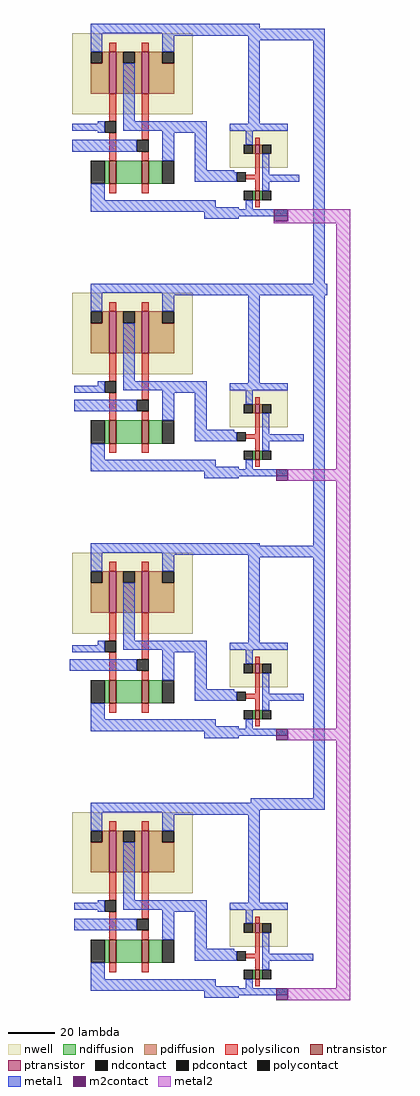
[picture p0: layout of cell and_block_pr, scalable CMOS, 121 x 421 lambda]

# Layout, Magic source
magic
tech scmos
<< metal1 >>
rect 77 412 110 417
rect 1 373 15 376
rect 1 364 17 369
rect 91 351 99 354
rect 105 307 110 412
rect 77 302 111 307
rect 2 260 15 263
rect 2 252 17 257
rect 91 239 101 242
rect 105 194 110 302
rect 77 189 110 194
rect 1 148 15 151
rect 0 140 17 145
rect 91 127 101 130
rect 105 85 110 189
rect 78 80 110 85
rect 2 37 15 40
rect 2 28 17 33
rect 91 15 105 18
<< m2contact >>
rect 88 334 94 339
rect 89 222 94 227
rect 89 110 94 115
rect 89 -2 94 3
<< metal2 >>
rect 94 334 121 339
rect 88 333 121 334
rect 115 227 121 333
rect 94 222 121 227
rect 115 115 121 222
rect 94 110 121 115
rect 115 3 121 110
rect 94 -2 121 3
use and_2_pr  and_2_pr_0
array 0 0 120 0 3 112
transform 1 0 58 0 1 0
box -57 -1 36 83
<< end >>

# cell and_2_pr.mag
magic
tech scmos
<< metal1 >>
rect -18 78 24 83
rect -18 36 1 41
rect 19 38 24 78
rect -4 20 1 36
rect -4 15 13 20
rect -18 4 5 7
rect -18 2 15 4
rect 0 -1 15 2
use nand_unlab_pr  nand_unlab_pr_0
transform 1 0 -33 0 1 53
box -24 -51 28 30
use inverter_unlab_pr  inverter_unlab_pr_0
transform 1 0 20 0 1 20
box -9 -20 16 20
<< end >>

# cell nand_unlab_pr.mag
magic
tech scmos
<< nwell >>
rect -24 -9 28 26
<< ntransistor >>
rect -8 -39 -5 -29
rect 6 -39 9 -29
<< ptransistor >>
rect -8 0 -5 18
rect 6 0 9 18
<< ndiffusion >>
rect -10 -39 -8 -29
rect -5 -39 6 -29
rect 9 -39 15 -29
<< pdiffusion >>
rect -11 13 -8 18
rect -16 0 -8 13
rect -5 13 -2 18
rect 3 13 6 18
rect -5 0 6 13
rect 9 13 15 18
rect 9 0 20 13
<< ndcontact >>
rect -16 -39 -10 -29
rect 15 -39 20 -29
<< pdcontact >>
rect -16 13 -11 18
rect -2 13 3 18
rect 15 13 20 18
<< polysilicon >>
rect -8 18 -5 22
rect 6 18 9 22
rect -8 -12 -5 0
rect -8 -29 -5 -17
rect 6 -20 9 0
rect 6 -29 9 -25
rect -8 -43 -5 -39
rect 6 -43 9 -39
<< polycontact >>
rect -10 -17 -5 -12
rect 4 -25 9 -20
<< metal1 >>
rect -16 26 20 30
rect -16 18 -11 26
rect 15 18 20 26
rect -2 -12 3 13
rect -13 -17 -10 -12
rect -2 -16 20 -12
rect -13 -25 4 -20
rect 15 -29 20 -16
rect -16 -46 -10 -39
rect -16 -51 20 -46
<< end >>

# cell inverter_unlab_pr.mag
magic
tech scmos
<< nwell >>
rect -9 1 16 17
<< ntransistor >>
rect 2 -13 4 -9
<< ptransistor >>
rect 2 7 4 11
<< ndiffusion >>
rect 1 -13 2 -9
rect 4 -13 5 -9
<< pdiffusion >>
rect 1 7 2 11
rect 4 7 5 11
<< ndcontact >>
rect -3 -13 1 -9
rect 5 -13 9 -9
<< pdcontact >>
rect -3 7 1 11
rect 5 7 9 11
<< polysilicon >>
rect 2 11 4 14
rect 2 -2 4 7
rect -2 -4 4 -2
rect 2 -9 4 -4
rect 2 -16 4 -13
<< polycontact >>
rect -6 -5 -2 -1
<< metal1 >>
rect -9 17 16 20
rect -2 11 1 17
rect -8 -5 -6 -1
rect 5 -2 8 7
rect 5 -5 16 -2
rect 5 -9 8 -5
rect -2 -17 1 -13
rect -9 -20 16 -17
<< end >>
